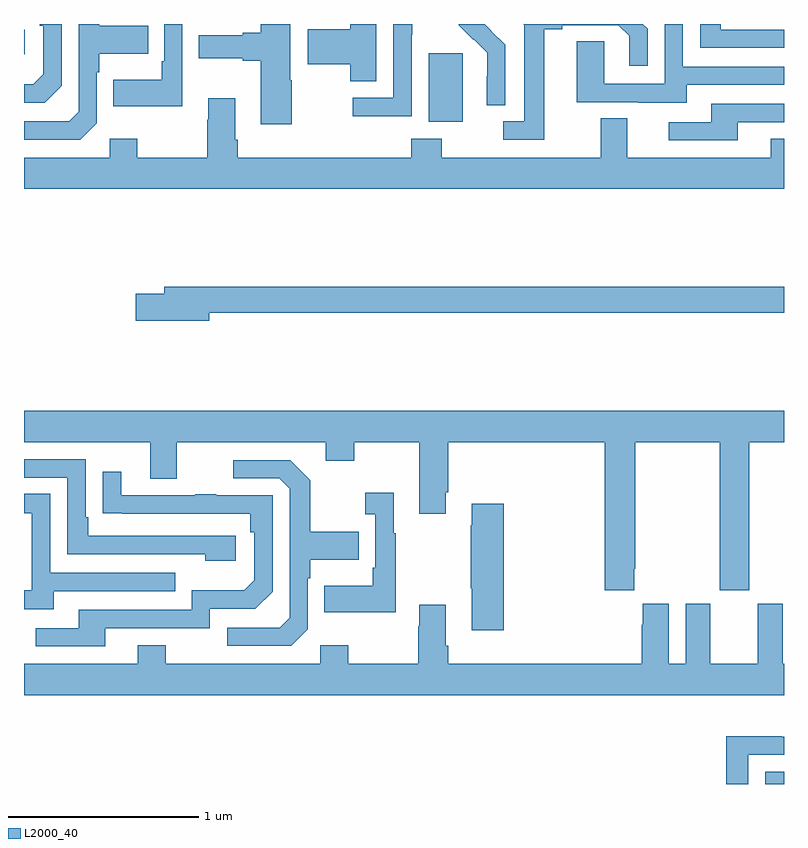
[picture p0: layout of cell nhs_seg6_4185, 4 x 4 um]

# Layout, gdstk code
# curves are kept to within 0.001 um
import gdstk
lib = gdstk.Library(unit=1e-6, precision=1e-09)
def R(c, l, rs):  # rectangles x0, y0, x1, y1
    for r in rs: c.add(gdstk.rectangle(r[:2], r[2:], *l))
def P(c, l, *ps):  # polygons
    for p in ps: c.add(gdstk.Polygon(p, *l))
L2000_40 = (2000, 40)

nhs_seg6_4185 = lib.new_cell('nhs_seg6_4185')
R(nhs_seg6_4185, L2000_40, [(360.902,981.5,361,981.565), (359.129,984.986,359.308,985.347), (357,985.34,357.004,985.47)])
P(nhs_seg6_4185, L2000_40, [(358.855,985.5),(358.717,985.5),(358.717,985.472),(358.494,985.472),(358.494,985.289),(358.717,985.289),(358.717,985.198),(358.855,985.198)],
  [(360.487,985.179),(361,985.179),(361,985.275),(360.468,985.275),(360.468,985.5),(360.372,985.5),(360.372,985.185),(360.054,985.185),(360.054,985.409),(359.909,985.409),(359.909,985.089),(360.233,985.089),(360.233,985.085),(360.487,985.085)],
  [(358.41,985.205),(358.402,985.205),(358.402,985.5),(358.247,985.5),(358.247,985.454),(358.151,985.454),(358.151,985.441),(357.921,985.441),(357.921,985.319),(358.151,985.319),(358.151,985.307),(358.247,985.307),(358.247,984.972),(358.41,984.972)],
  [(357.384,984.978),(357.384,985.247),(357.397,985.247),(357.397,985.343),(357.653,985.343),(357.653,985.491),(357.397,985.491),(357.397,985.5),(357.288,985.5),(357.288,985.038),(357.237,984.987),(357,984.987),(357,984.891),(357.297,984.891)],
  [(361,985.47),(360.667,985.47),(360.667,985.5),(360.558,985.5),(360.558,985.374),(361,985.374)],
  [(359.532,985.39),(359.424,985.5),(359.287,985.5),(359.287,985.493),(359.364,985.416),(359.367,985.419),(359.438,985.349),(359.438,985.226),(359.436,985.226),(359.436,985.072),(359.532,985.072)],
  [(359.737,985.472),(359.833,985.472),(359.833,985.494),(360.128,985.494),(360.185,985.437),(360.185,985.281),(360.282,985.281),(360.282,985.474),(360.256,985.5),(359.628,985.5),(359.633,985.495),(359.633,984.987),(359.523,984.987),(359.523,984.891),(359.737,984.891)],
  [(357.198,985.176),(357.198,985.5),(357.082,985.5),(357.082,985.49),(357.102,985.49),(357.102,985.236),(357.049,985.183),(357,985.183),(357,985.086),(357.108,985.086)],
  [(357.834,985.5),(357.738,985.5),(357.738,985.303),(357.726,985.303),(357.726,985.207),(357.469,985.207),(357.469,985.067),(357.834,985.067)],
  [(359.04,985.444),(359.043,985.444),(359.043,985.5),(358.944,985.5),(358.944,985.113),(358.731,985.113),(358.731,985.015),(359.04,985.015)],
  [(361,984.895),(360.929,984.895),(360.929,984.796),(360.175,984.796),(360.175,985.004),(360.035,985.004),(360.035,984.796),(359.199,984.796),(359.199,984.895),(359.039,984.895),(359.039,984.796),(358.124,984.796),(358.124,984.892),(358.111,984.892),(358.111,985.108),(357.971,985.108),(357.971,984.995),(357.964,984.995),(357.964,984.796),(357.597,984.796),(357.597,984.895),(357.45,984.895),(357.45,984.796),(357,984.796),(357,984.632),(361,984.632)],
  [(360.757,984.984),(361,984.984),(361,985.08),(360.617,985.08),(360.617,984.984),(360.393,984.984),(360.393,984.888),(360.757,984.888)],
  [(357.976,983.98),(361,983.98),(361,984.116),(357.737,984.116),(357.737,984.08),(357.588,984.08),(357.588,983.938),(357.976,983.938)],
  [(360.211,982.633),(360.216,982.633),(360.216,983.3),(360.661,983.3),(360.661,982.521),(360.816,982.521),(360.816,983.3),(361,983.3),(361,983.464),(357,983.464),(357,983.3),(357.665,983.3),(357.665,983.106),(357.805,983.106),(357.805,983.3),(358.589,983.3),(358.589,983.201),(358.737,983.201),(358.737,983.3),(359.081,983.3),(359.081,982.923),(359.221,982.923),(359.221,983.035),(359.234,983.035),(359.234,983.3),(360.056,983.3),(360.056,982.521),(360.211,982.521)],
  [(358.114,982.806),(357.337,982.806),(357.337,982.903),(357.324,982.903),(357.324,983.208),(357,983.208),(357,983.112),(357.228,983.112),(357.228,982.71),(357.953,982.71),(357.953,982.676),(358.114,982.676)],
  [(358.494,982.314),(358.494,982.583),(358.507,982.583),(358.507,982.679),(358.763,982.679),(358.763,982.827),(358.507,982.827),(358.507,983.099),(358.401,983.205),(358.101,983.205),(358.101,983.109),(358.344,983.109),(358.398,983.055),(358.398,982.374),(358.347,982.323),(358.071,982.323),(358.071,982.227),(358.407,982.227)],
  [(357.427,982.32),(357.978,982.32),(357.978,982.422),(358.218,982.422),(358.308,982.512),(358.308,983.019),(358.013,983.019),(358.013,983.024),(357.901,983.024),(357.901,983.019),(357.511,983.019),(357.511,983.143),(357.415,983.143),(357.415,982.924),(358.192,982.923),(358.192,982.826),(358.212,982.826),(358.212,982.572),(358.159,982.519),(357.882,982.519),(357.882,982.416),(357.287,982.416),(357.287,982.32),(357.063,982.32),(357.063,982.224),(357.427,982.224)],
  [(358.957,982.819),(358.945,982.819),(358.945,983.032),(358.797,983.032),(358.797,982.919),(358.848,982.919),(358.848,982.639),(358.836,982.639),(358.836,982.543),(358.579,982.543),(358.579,982.403),(358.957,982.403)],
  [(357.157,982.515),(357.797,982.515),(357.797,982.611),(357.138,982.611),(357.138,983.027),(357,983.027),(357,982.926),(357.042,982.926),(357.042,982.521),(357,982.521),(357,982.421),(357.157,982.421)],
  [(359.525,982.975),(359.357,982.975),(359.357,982.862),(359.35,982.862),(359.35,982.531),(359.357,982.531),(359.357,982.308),(359.525,982.308)],
  [(361,982.132),(360.994,982.132),(360.994,982.45),(360.863,982.45),(360.863,982.132),(360.613,982.132),(360.613,982.45),(360.482,982.45),(360.482,982.132),(360.394,982.132),(360.394,982.45),(360.257,982.45),(360.257,982.337),(360.251,982.337),(360.251,982.132),(359.234,982.132),(359.234,982.228),(359.221,982.228),(359.221,982.444),(359.081,982.444),(359.081,982.331),(359.074,982.331),(359.074,982.132),(358.707,982.132),(358.707,982.231),(358.56,982.231),(358.56,982.132),(357.747,982.132),(357.747,982.231),(357.599,982.231),(357.599,982.132),(357,982.132),(357,981.968),(361,981.968)],
  [(360.813,981.654),(361,981.654),(361,981.75),(360.989,981.75),(360.989,981.752),(360.697,981.752),(360.697,981.5),(360.813,981.5)])

lib.write_gds('nhs_seg6_4185.gds')
